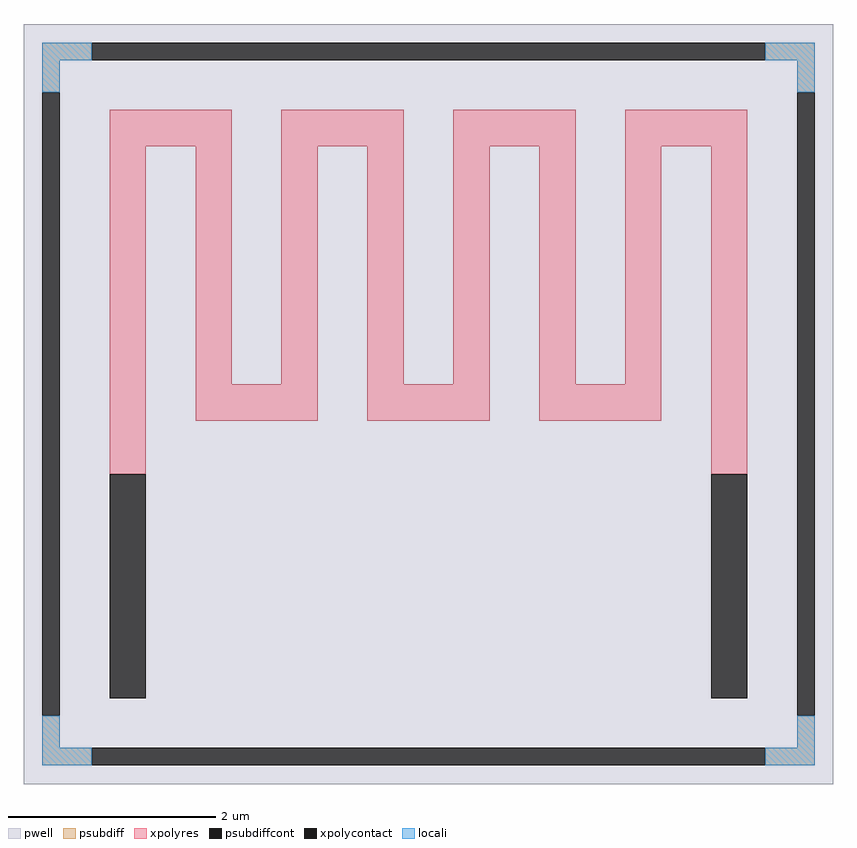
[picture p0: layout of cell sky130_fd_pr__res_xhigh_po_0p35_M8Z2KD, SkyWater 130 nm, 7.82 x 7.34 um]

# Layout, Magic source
magic
tech sky130A
<< pwell >>
rect -391 -367 391 367
<< psubdiff >>
rect -373 332 -325 349
rect 325 332 373 349
rect -373 301 -356 332
rect 356 301 373 332
rect -373 -332 -356 -301
rect 356 -332 373 -301
rect -373 -349 -325 -332
rect 325 -349 373 -332
<< psubdiffcont >>
rect -325 332 325 349
rect -373 -301 -356 301
rect 356 -301 373 301
rect -325 -349 325 -332
<< xpolycontact >>
rect -308 -284 -273 -68
rect 273 -284 308 -68
<< xpolyres >>
rect -308 249 -190 284
rect -308 -68 -273 249
rect -225 19 -190 249
rect -142 249 -24 284
rect -142 19 -107 249
rect -225 -16 -107 19
rect -59 19 -24 249
rect 24 249 142 284
rect 24 19 59 249
rect -59 -16 59 19
rect 107 19 142 249
rect 190 249 308 284
rect 190 19 225 249
rect 107 -16 225 19
rect 273 -68 308 249
<< locali >>
rect -373 332 -325 349
rect 325 332 373 349
rect -373 301 -356 332
rect 356 301 373 332
rect -373 -332 -356 -301
rect 356 -332 373 -301
rect -373 -349 -325 -332
rect 325 -349 373 -332
<< properties >>
string FIXED_BBOX -364 -340 364 340
string gencell sky130_fd_pr__res_xhigh_po_0p35
string library sky130
string parameters w 0.35 l 3 m 1 nx 8 wmin 0.350 lmin 0.50 rho 2000 val 152.218k dummy 0 dw 0.0 term 188.2 sterm 0.0 caplen 0 wmax 0.350 guard 1 glc 1 grc 1 gtc 1 gbc 1 compatible {sky130_fd_pr__res_xhigh_po_0p35  sky130_fd_pr__res_xhigh_po_0p69 sky130_fd_pr__res_xhigh_po_1p41  sky130_fd_pr__res_xhigh_po_2p85 sky130_fd_pr__res_xhigh_po_5p73} snake 1 full_metal 1 n_guard 0 hv_guard 0 vias 1 viagb 0 viagt 0 viagl 0 viagr 0
<< end >>
